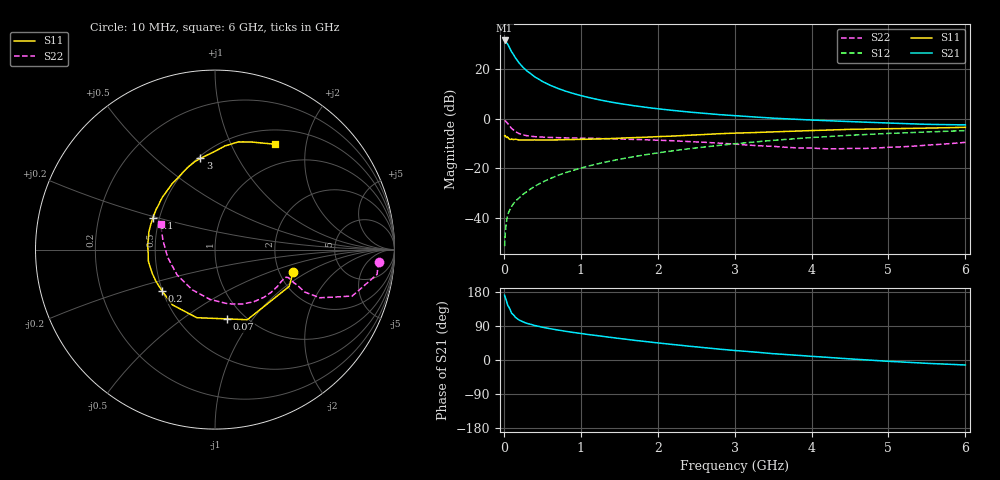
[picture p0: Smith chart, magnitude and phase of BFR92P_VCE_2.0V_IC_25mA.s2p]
! Infineon Technologies  Discrete & RF Semiconductors
! BFR92P
! VCE =  2.0 V,  IC =  25 mA
! Common Emitter S-Parameters:  Apr 2014
# GHz  S  MA  R  50
!  f  S11  S21  S12  S22
! GHz  MAG  ANG  MAG  ANG  MAG  ANG  MAG  ANG
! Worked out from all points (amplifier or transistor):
!   77 points, 10 MHz to 6 GHz, reference 50 ohm
!   highest |S21| = 31.6 dB at 10 MHz (marker M1)
!   |S21| within 3 dB of that: start of sweep to 75.09 MHz
!   unconditionally stable (mu >= 1): 245.6 MHz to 3.181 GHz
!   at 130 MHz: K = 0.74, MSG = 29.9 dB, |S12| = -34.0 dB
!   at 2.2 GHz: K = 1.08, MAG = 6.5 dB, |S12| = -12.9 dB
!   at 6 GHz: K = 0.95, MSG = 1.1 dB, |S12| = -4.7 dB
!   S11 on the Smith chart (normalised r, x): 10 MHz: 2.38, -0.74; 70 MHz: 0.83, -0.76; 200 MHz: 0.50, -0.26; 1.1 GHz: 0.46, +0.19; 3 GHz: 0.51, +0.71; 6 GHz: 0.69, +1.49
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0.01  0.4531 -15.8  38.17 170.7  0.0027 85.4  0.9142 -4.3
0.02  0.4614 -26.4  37.69 164.3  0.0053 75.1  0.9132 -8.7
0.05  0.4302 -65.2  32.24 144.5  0.0117 70.7  0.8069 -18.7
0.07  0.392 -80.0  28.02 137.9  0.0138 66.7  0.74 -20.8
0.1  0.3927 -104.9  22.72 123.7  0.017 62.6  0.642 -24.7
0.15  0.3886 -127.5  17.09 112.7  0.0218 62.2  0.5528 -25.3
0.2  0.3739 -142.4  13.34 105.3  0.0255 64.1  0.5023 -23.5
0.25  0.3735 -152.0  10.95 100.7  0.0301 66.2  0.4765 -22.8
0.3  0.3739 -159.5  9.258 96.6  0.0341 68.0  0.4566 -21.6
0.4  0.3769 -170.1  7.059 91.0  0.0434 70.6  0.4373 -20.9
0.5  0.3729 -177.7  5.698 86.5  0.0527 72.2  0.4283 -21.1
0.6  0.3761 175.9  4.783 82.7  0.0621 72.7  0.4221 -21.6
0.7  0.3764 170.4  4.126 79.2  0.0721 73.5  0.4179 -22.6
0.9  0.3832 160.4  3.257 72.8  0.0913 73.3  0.41 -25.8
1.1  0.3883 152.9  2.703 67.2  0.1117 72.4  0.4058 -29.2
1.5  0.4071 138.4  2.043 56.9  0.1529 69.5  0.3931 -37.3
2.1  0.4435 120.1  1.538 43.0  0.2161 63.7  0.366 -51.0
3  0.5149 99.2  1.161 25.1  0.3138 53.1  0.3105 -76.5
3.1  0.5201 97.3  1.134 23.6  0.3243 51.5  0.3017 -80.0
4.1  0.5868 83.0  0.933 8.4  0.4288 38.0  0.2523 -124.5
5.1  0.6356 70.3  0.814 -4.5  0.5147 23.5  0.27 -174.9
6  0.675 60.5  0.755 -13.2  0.5806 11.0  0.3355 154.7
